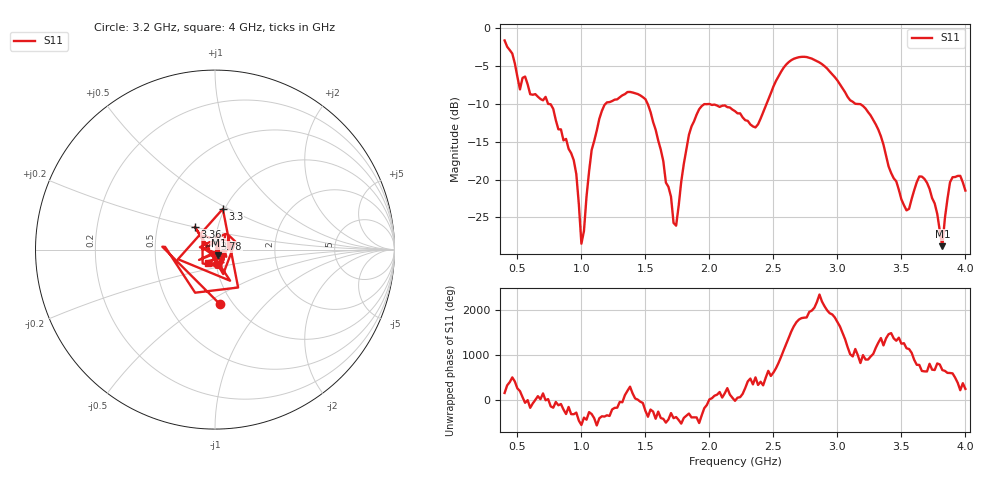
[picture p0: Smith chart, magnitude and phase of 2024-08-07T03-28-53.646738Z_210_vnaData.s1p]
!Created with skrf (http://scikit-rf.org).
# Hz S RI R 50.0
!freq ReS11 ImS11
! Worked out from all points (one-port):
!   181 points, 400 MHz to 4 GHz, reference 50 ohm
!   lowest |S11| = -28.8 dB at 3.82 GHz (marker M1), VSWR 1.08, Z = 51.8 - j3.21 ohm
!   |S11| at or under -10 dB: 739.5 MHz to 1.19 GHz (450 MHz wide, 46.7 % of centre); 1.517 GHz to 2.447 GHz (930 MHz wide, 46.9 % of centre); 3.139 GHz to end of sweep
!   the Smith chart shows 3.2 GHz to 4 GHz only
!   S11 on the Smith chart (normalised r, x): 3.2 GHz: 0.87, -0.59; 3.3 GHz: 0.98, +0.47; 3.36 GHz: 0.77, +0.20; 3.78 GHz: 0.99, +0.12; 4 GHz: 0.92, -0.14
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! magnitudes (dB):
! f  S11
! 400 MHz  -1.7
! 520 MHz  -8.1
! 720 MHz  -9.1
! 860 MHz  -14.8
! 960 MHz  -19.3
! 1 GHz  -28.5
! 1.08 GHz  -16.1
! 1.14 GHz  -12.0
! 1.3 GHz  -9.1
! 1.5 GHz  -9.4
! 1.62 GHz  -16.1
! 1.72 GHz  -25.7
! 1.76 GHz  -23.4
! 1.84 GHz  -14.1
! 1.92 GHz  -10.7
! 2.2 GHz  -11.0
! 2.36 GHz  -13.1
! 2.66 GHz  -4.1
! 3.1 GHz  -9.5
! 3.2 GHz  -10.3
! 3.3 GHz  -12.7
! 3.36 GHz  -15.4
! 3.56 GHz  -23.9
! 3.66 GHz  -19.6
! 3.78 GHz  -24.5
! 3.82 GHz  -28.8
! 3.88 GHz  -20.4
! 4 GHz  -21.5
